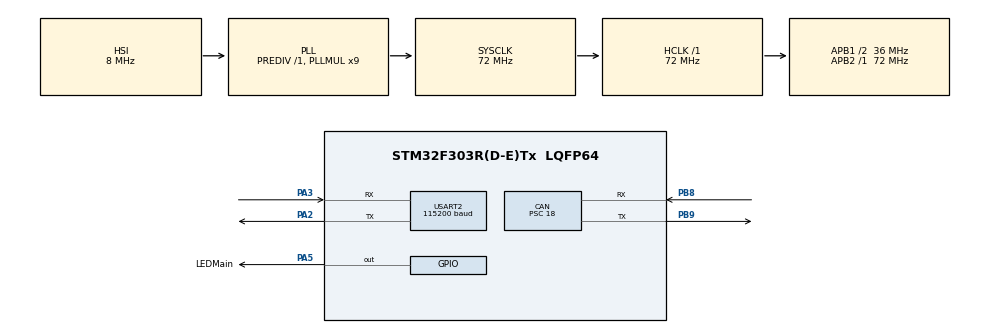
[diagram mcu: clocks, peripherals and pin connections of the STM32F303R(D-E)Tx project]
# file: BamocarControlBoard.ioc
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CAN.BS1=CAN_BS1_4TQ
CAN.BS2=CAN_BS2_3TQ
CAN.CalculateTimeBit=4000
CAN.CalculateTimeQuantum=500.0
CAN.Mode=CAN_MODE_NORMAL
CAN.Prescaler=18
CAN.SJW=CAN_SJW_4TQ
CAN.TXFP=ENABLE
Dma.Request0=USART2_RX
Dma.Request1=USART2_TX
Dma.USART2_RX.0.Direction=DMA_PERIPH_TO_MEMORY
Dma.USART2_RX.0.Instance=DMA1_Channel6
Dma.USART2_RX.0.MemDataAlignment=DMA_MDATAALIGN_BYTE
Dma.USART2_RX.0.MemInc=DMA_MINC_ENABLE
Dma.USART2_RX.0.Mode=DMA_CIRCULAR
Dma.USART2_RX.0.PeriphDataAlignment=DMA_PDATAALIGN_BYTE
Dma.USART2_RX.0.PeriphInc=DMA_PINC_DISABLE
Dma.USART2_RX.0.Priority=DMA_PRIORITY_LOW
Dma.USART2_TX.1.Direction=DMA_MEMORY_TO_PERIPH
Dma.USART2_TX.1.Instance=DMA1_Channel7
Dma.USART2_TX.1.MemDataAlignment=DMA_MDATAALIGN_BYTE
Dma.USART2_TX.1.MemInc=DMA_MINC_ENABLE
Dma.USART2_TX.1.Mode=DMA_NORMAL
Dma.USART2_TX.1.PeriphDataAlignment=DMA_PDATAALIGN_BYTE
Dma.USART2_TX.1.PeriphInc=DMA_PINC_DISABLE
Dma.USART2_TX.1.Priority=DMA_PRIORITY_LOW
Mcu.Family=STM32F3
Mcu.Name=STM32F303R(D-E)Tx
Mcu.Package=LQFP64
NVIC.CAN_RX1_IRQn=true\:0\:0\:false\:false\:true\:true
NVIC.CAN_SCE_IRQn=true\:0\:0\:false\:false\:true\:true
NVIC.DMA1_Channel6_IRQn=true\:0\:0\:false\:false\:true\:false
NVIC.DMA1_Channel7_IRQn=true\:0\:0\:false\:false\:true\:false
NVIC.PriorityGroup=NVIC_PRIORITYGROUP_4
NVIC.TIM1_UP_TIM16_IRQn=true\:0\:0\:false\:false\:true\:true
NVIC.USART2_IRQn=true\:0\:0\:false\:false\:true\:true
NVIC.USB_HP_CAN_TX_IRQn=true\:0\:0\:false\:false\:true\:true
NVIC.USB_LP_CAN_RX0_IRQn=true\:0\:0\:false\:false\:true\:true
PA2.Mode=Asynchronous
PA2.Signal=USART2_TX
PA3.Mode=Asynchronous
PA3.Signal=USART2_RX
PA5.GPIO_Label=LEDMain
PA5.Signal=GPIO_Output
PB8.Mode=Master
PB8.Signal=CAN_RX
PB9.Mode=Master
PB9.Signal=CAN_TX
PF0-OSC_IN.Mode=HSE-External-Oscillator
PF0-OSC_IN.Signal=RCC_OSC_IN
PF1-OSC_OUT.Mode=HSE-External-Oscillator
PF1-OSC_OUT.Signal=RCC_OSC_OUT
ProjectManager.HeapSize=0x200
ProjectManager.StackSize=0x400
ProjectManager.TargetToolchain=TrueSTUDIO
RCC.AHBFreq_Value=72000000
RCC.APB1CLKDivider=RCC_HCLK_DIV2
RCC.APB1Freq_Value=36000000
RCC.APB1TimFreq_Value=72000000
RCC.APB2Freq_Value=72000000
RCC.APB2TimFreq_Value=72000000
RCC.CortexFreq_Value=72000000
RCC.HCLKFreq_Value=72000000
RCC.HSE_VALUE=8000000
RCC.HSI_VALUE=8000000
RCC.LSE_VALUE=32768
RCC.PLLMUL=RCC_PLL_MUL9
RCC.SYSCLKFreq_VALUE=72000000
RCC.SYSCLKSourceVirtual=RCC_SYSCLKSOURCE_PLLCLK
RCC.USBFreq_Value=72000000
TIM16.Period=71
TIM16.Prescaler=999
USART2.BaudRate=115200
USART2.OverSampling=UART_OVERSAMPLING_8
USART2.VirtualMode-Asynchronous=VM_ASYNC
USART2.WordLength=WORDLENGTH_8B
VP_TIM16_VS_ClockSourceINT.Mode=Enable_Timer
board=BamocarControlBoard

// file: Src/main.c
/**
  ******************************************************************************
  * @file           : main.c
  * @brief          : Main program body
  ******************************************************************************
  ** This notice applies to any and all portions of this file
  * that are not between comment pairs USER CODE BEGIN and
  * USER CODE END. Other portions of this file, whether
  * inserted by the user or by software development tools
  * are owned by their respective copyright owners.
  *
  * COPYRIGHT(c) 2018 STMicroelectronics
  *
  * Redistribution and use in source and binary forms, with or without modification,
  * are permitted provided that the following conditions are met:
  *   1. Redistributions of source code must retain the above copyright notice,
  *      this list of conditions and the following disclaimer.
  *   2. Redistributions in binary form must reproduce the above copyright notice,
  *      this list of conditions and the following disclaimer in the documentation
  *      and/or other materials provided with the distribution.
  *   3. Neither the name of STMicroelectronics nor the names of its contributors
  *      may be used to endorse or promote products derived from this software
  *      without specific prior written permission.
  *
  * THIS SOFTWARE IS PROVIDED BY THE COPYRIGHT HOLDERS AND CONTRIBUTORS "AS IS"
  * AND ANY EXPRESS OR IMPLIED WARRANTIES, INCLUDING, BUT NOT LIMITED TO, THE
  * IMPLIED WARRANTIES OF MERCHANTABILITY AND FITNESS FOR A PARTICULAR PURPOSE ARE
  * DISCLAIMED. IN NO EVENT SHALL THE COPYRIGHT HOLDER OR CONTRIBUTORS BE LIABLE
  * FOR ANY DIRECT, INDIRECT, INCIDENTAL, SPECIAL, EXEMPLARY, OR CONSEQUENTIAL
  * DAMAGES (INCLUDING, BUT NOT LIMITED TO, PROCUREMENT OF SUBSTITUTE GOODS OR
  * SERVICES; LOSS OF USE, DATA, OR PROFITS; OR BUSINESS INTERRUPTION) HOWEVER
  * CAUSED AND ON ANY THEORY OF LIABILITY, WHETHER IN CONTRACT, STRICT LIABILITY,
  * OR TORT (INCLUDING NEGLIGENCE OR OTHERWISE) ARISING IN ANY WAY OUT OF THE USE
  * OF THIS SOFTWARE, EVEN IF ADVISED OF THE POSSIBILITY OF SUCH DAMAGE.
  *
  ******************************************************************************
  */
#include "main.h"
#include "stm32f3xx_hal.h"
#include "can.h"
#include "dma.h"
#include "tim.h"
#include "usart.h"
#include "gpio.h"

/* USER CODE BEGIN Includes */
#include "CAN_MC.h"
/* USER CODE END Includes */

/* USER CODE BEGIN PV */
/* Private variables ---------------------------------------------------------*/
static uint8_t DataUART[CAN_DATA_LEN_TX]; //dane odebrane przez UART
//static uint8_t DataCAN[CAN_DATA_LEN_RX]; //dane odebrane z magistrali CAN

/* USER CODE END PV */

void SystemClock_Config(void);

/* USER CODE BEGIN PFP */
/* Private function prototypes -----------------------------------------------*/
void HAL_CAN_TxCpltCallback(CAN_HandleTypeDef *hcan){
	CLEAR_BIT(CAN_MC_Status, 1<<CAN_TX_ERROR);
}

void HAL_CAN_RxCpltCallback(CAN_HandleTypeDef *hcan){
	CAN_MC_ReceiveCallback(hcan);
}

//void HAL_CAN_ErrorCallback(CAN_HandleTypeDef *hcan){
//	if (HAL_CAN_GetState(hcan) ==  HAL_CAN_STATE_ERROR){
//		HAL_GPIO_WritePin(LEDMain_GPIO_Port, LEDMain_Pin, GPIO_PIN_SET); //świecimy jeśli wyślemy ramke
//		TIM16->CNT=0;
//		HAL_TIM_Base_Start_IT(&htim16);
//	}
//}

void HAL_TIM_PeriodElapsedCallback(TIM_HandleTypeDef *htim){
	if(htim->Instance == TIM16){
		if(!fifo_empty(&TxBuffer) && !READ_BIT(CAN_MC_Status, 1<<CAN_TX_ERROR)){
			fifo_pop(&TxBuffer, hcan.pTxMsg);
			if(HAL_CAN_Transmit_IT(&hcan) != HAL_OK)
				SET_BIT(CAN_MC_Status, 1<<CAN_TX_ERROR);
		}
		HAL_TIM_Base_Stop_IT(htim);
		TIM16->CNT=0;
		HAL_TIM_Base_Start_IT(htim);
	}
}

void HAL_UART_RxCpltCallback(UART_HandleTypeDef *huart){
//	HAL_UART_Transmit_DMA(huart, CAN_MC_GetSpeed(), CAN_DATA_LEN_RX * sizeof(uint8_t)); //wysłanie danych przez UART
//	HAL_UART_Receive_DMA(huart, DataUART, CAN_DATA_LEN_TX); // ponowne włączenie nasłuchiwania na przerwania, byc może niekonieczne
}

//void HAL_UART_TxCpltCallback(UART_HandleTypeDef *huart){
//}
/* USER CODE END PFP */

int main(void)
{

  /* MCU Configuration----------------------------------------------------------*/

  /* Reset of all peripherals, Initializes the Flash interface and the Systick. */
  HAL_Init();

  /* Configure the system clock */
  SystemClock_Config();

  /* Initialize all configured peripherals */
  MX_GPIO_Init();
  MX_DMA_Init();
  MX_TIM16_Init();
  MX_USART2_UART_Init();
  MX_CAN_Init();
  /* USER CODE BEGIN 2 */

  // inicjalizacja biblioteki CAN_MC
  CAN_MC_Init(&hcan);
  CAN_MC_Connect(&hcan);

  //pierwsze uruchomienie timera, konieczne ze względu na błąd w bibliotece HAL
  HAL_TIM_Base_Start_IT(&htim16); //tutaj wykonujemy start, stop i wyzerowanie timera, żeby wyeliminowac błąd, w którym
  HAL_TIM_Base_Stop_IT(&htim16);  // pierwsze przerwanie nie działało poprawnie
  TIM16->CNT=0;
  HAL_TIM_Base_Start_IT(&htim16);

  //Test bench 1
  HAL_Delay(500);
  CAN_MC_TorqueCommand(&hcan, 0x01f4);
//  CAN_MC_SpeedCommand(&hcan, 0x01f4);
  HAL_Delay(5000);
  CAN_MC_StopCommand(&hcan);

  // Test bench 2
//  CAN_MC_CyclicDataEnable(&hcan);
//  HAL_Delay(300);
//  CAN_MC_CyclicDataDisable(&hcan);

  CAN_MC_Disconnect(&hcan);

//  HAL_UART_Receive_DMA(&huart2, DataUART, CAN_DATA_LEN_TX); //rozpoczęcie nasłuchiwania na dane z UARTa

//  HAL_CAN_Receive_IT(&hcan, CAN_FIFO0); //pierwsze przerwanie CAN na kolejce numer 0
  /* USER CODE END 2 */

  /* Infinite loop */
  while (1)
  {

  }

}

void SystemClock_Config(void)
{

  RCC_OscInitTypeDef RCC_OscInitStruct;
  RCC_ClkInitTypeDef RCC_ClkInitStruct;
  RCC_PeriphCLKInitTypeDef PeriphClkInit;

    /**Initializes the CPU, AHB and APB busses clocks
    */
  RCC_OscInitStruct.OscillatorType = RCC_OSCILLATORTYPE_HSI;
  RCC_OscInitStruct.HSIState = RCC_HSI_ON;
  RCC_OscInitStruct.HSICalibrationValue = 16;
  RCC_OscInitStruct.PLL.PLLState = RCC_PLL_ON;
  RCC_OscInitStruct.PLL.PLLSource = RCC_PLLSOURCE_HSI;
  RCC_OscInitStruct.PLL.PLLMUL = RCC_PLL_MUL9;
  RCC_OscInitStruct.PLL.PREDIV = RCC_PREDIV_DIV1;
  if (HAL_RCC_OscConfig(&RCC_OscInitStruct) != HAL_OK)
  {
    _Error_Handler(__FILE__, __LINE__);
  }

    /**Initializes the CPU, AHB and APB busses clocks
    */
  RCC_ClkInitStruct.ClockType = RCC_CLOCKTYPE_HCLK|RCC_CLOCKTYPE_SYSCLK
                              |RCC_CLOCKTYPE_PCLK1|RCC_CLOCKTYPE_PCLK2;
  RCC_ClkInitStruct.SYSCLKSource = RCC_SYSCLKSOURCE_PLLCLK;
  RCC_ClkInitStruct.AHBCLKDivider = RCC_SYSCLK_DIV1;
  RCC_ClkInitStruct.APB1CLKDivider = RCC_HCLK_DIV2;
  RCC_ClkInitStruct.APB2CLKDivider = RCC_HCLK_DIV1;

  if (HAL_RCC_ClockConfig(&RCC_ClkInitStruct, FLASH_LATENCY_2) != HAL_OK)
  {
    _Error_Handler(__FILE__, __LINE__);
  }

  PeriphClkInit.PeriphClockSelection = RCC_PERIPHCLK_USART2|RCC_PERIPHCLK_TIM16;
  PeriphClkInit.Usart2ClockSelection = RCC_USART2CLKSOURCE_PCLK1;
  PeriphClkInit.Tim16ClockSelection = RCC_TIM16CLK_HCLK;
  if (HAL_RCCEx_PeriphCLKConfig(&PeriphClkInit) != HAL_OK)
  {
    _Error_Handler(__FILE__, __LINE__);
  }

    /**Configure the Systick interrupt time
    */
  HAL_SYSTICK_Config(HAL_RCC_GetHCLKFreq()/1000);

    /**Configure the Systick
    */
  HAL_SYSTICK_CLKSourceConfig(SYSTICK_CLKSOURCE_HCLK);

  /* SysTick_IRQn interrupt configuration */
  HAL_NVIC_SetPriority(SysTick_IRQn, 0, 0);
}

void _Error_Handler(char *file, int line)
{
  while(1)
  {
  }
}

/************************ (C) COPYRIGHT STMicroelectronics *****END OF FILE****/
